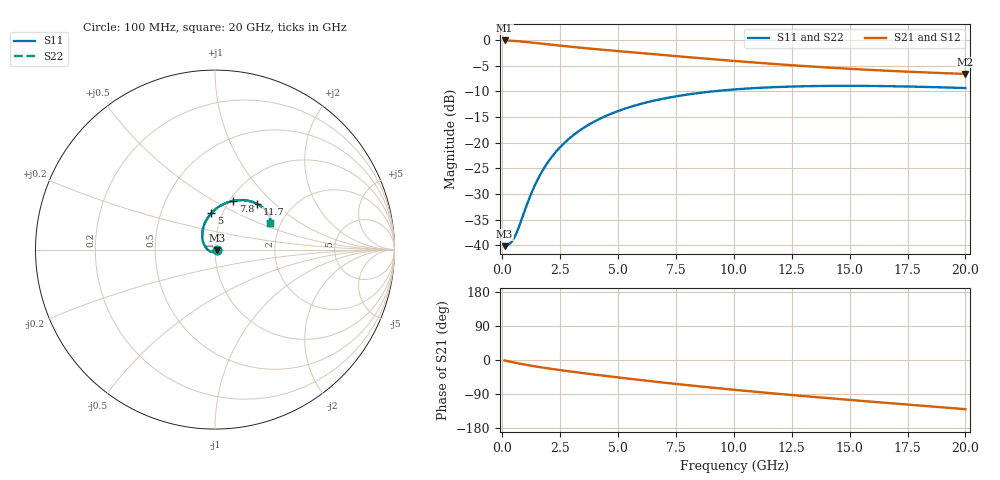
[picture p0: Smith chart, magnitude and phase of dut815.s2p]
! Touchstone file exported from HFSS 2024.1.0
!  File:  C:/UserFiles/LocalFiles/RDL_TSV_Batchsim/temp_RDL_TSV_815_1779913992.aedt
!  Generated:  04:46:52 AM May 28, 2026
!  Design:  RDL_TSV
!  Project:  temp_RDL_TSV_815_1779913992
!  Setup:  Setup1
!  Solution:  Sweep
! Variables:
!  dtsv = 13.28um
!  hbump = 3um
!  htsv = 59.18um
!  ldown = 103.1um
!  lrdl = 355.62um
!  p = 40
!  p1 = 55.84um
!  rhole = 10um
!  subl = 1731.78um
!  t = 450um
!  tdown = 4.62um
!  trdl = 2.68um
!  viad = 10um
!  wdown = 16.66um
!  wrdl = 24.55um
!  xbump = 18um
# GHz S MA R 50.000000
! Terminal data exported
! Port[1] = TM1_1_T1
! Port[2] = TM1_4_T1
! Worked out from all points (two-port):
!   200 points, 100 MHz to 20 GHz, reference 50 ohm
!   highest |S21| = -0.09 dB at 100 MHz (marker M1); lowest = -6.6 dB at 20 GHz (marker M2)
!   |S21| within 3 dB of the highest: start of sweep to 7.368 GHz
!   lowest |S11| = -40.2 dB at 100 MHz (marker M3), VSWR 1.02, Z = 51 - j0.244 ohm
!   |S11| at or under -10 dB: start of sweep to 9.111 GHz
!   |S22| runs from -40.2 to -8.9 dB; largest |S21 - S12| = 9.4e-15
!   S11 on the Smith chart (normalised r, x): 100 MHz: 1.02, -0.00; 5 GHz: 0.88, +0.37; 7.8 GHz: 1.04, +0.62; 11.7 GHz: 1.36, +0.78; 20 GHz: 1.77, +0.58
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0.1  0.009824 -14.1  0.9897 -1.3  0.9897 -1.3  0.009824 -14.1
! Gamma 0 0 0 0
! Port Impedance 50 0 50 0
0.3  0.0103 -45.0  0.9861 -4.0  0.9861 -4.0  0.0103 -45.0
0.5  0.01167 -79.1  0.98 -6.5  0.98 -6.5  0.01167 -79.1
0.7  0.01474 -110.9  0.9721 -8.9  0.9721 -8.9  0.01473 -110.8
1.1  0.02627 -155.3  0.9527 -13.5  0.9527 -13.5  0.02626 -155.3
1.3  0.03398 -170.1  0.942 -15.6  0.942 -15.6  0.03396 -170.1
1.6  0.047 172.9  0.9255 -18.6  0.9255 -18.6  0.04697 172.9
1.9  0.06109 159.8  0.9094 -21.4  0.9094 -21.4  0.06105 159.8
2.2  0.07571 149.2  0.8939 -24.1  0.8939 -24.1  0.07566 149.2
2.6  0.09546 137.6  0.8745 -27.5  0.8745 -27.5  0.0954 137.6
3  0.1151 128.1  0.8566 -30.8  0.8566 -30.8  0.115 128.1
3.5  0.1389 118.1  0.8357 -34.7  0.8357 -34.7  0.1388 118.1
4.2  0.1704 106.7  0.8086 -40.1  0.8086 -40.1  0.1702 106.7
5  0.2033 96.0  0.7796 -46.0  0.7796 -46.0  0.2031 96.0
5.8  0.2326 87.0  0.7518 -51.7  0.7518 -51.7  0.2324 87.0
6.8  0.264 77.6  0.7187 -58.6  0.7187 -58.6  0.2638 77.6
7.8  0.2899 69.5  0.6873 -65.1  0.6873 -65.1  0.2897 69.5
10.1  0.331 54.9  0.6228 -79.1  0.6228 -79.1  0.3307 54.9
11.7  0.3471 47.1  0.5849 -88.1  0.5849 -88.1  0.3468 47.0
13.4  0.3558 40.3  0.5509 -97.2  0.5509 -97.2  0.3554 40.3
16.7  0.355 30.8  0.5008 -113.8  0.5008 -113.8  0.3546 30.8
20  0.3405 25.4  0.4673 -129.8  0.4673 -129.8  0.34 25.4
